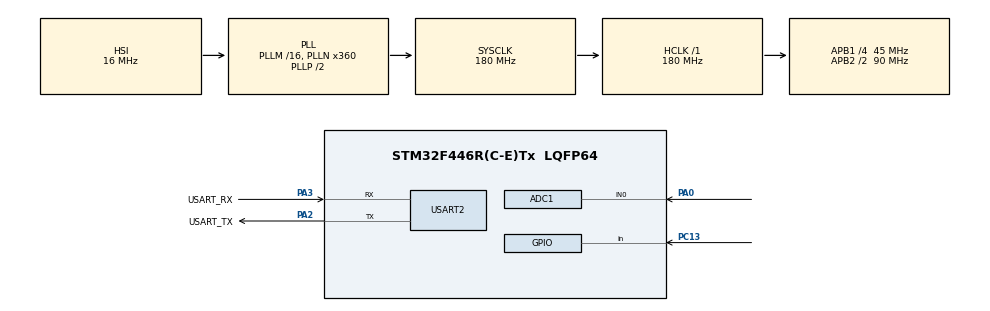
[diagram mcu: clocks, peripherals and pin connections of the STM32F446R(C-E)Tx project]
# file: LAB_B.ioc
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ADC1.Channel-0\#ChannelRegularConversion=ADC_CHANNEL_0
ADC1.NbrOfConversion=1
ADC1.NbrOfConversionFlag=1
ADC1.Rank-0\#ChannelRegularConversion=1
ADC1.SamplingTime-0\#ChannelRegularConversion=ADC_SAMPLETIME_480CYCLES
ADC1.master=1
Mcu.Family=STM32F4
Mcu.Name=STM32F446R(C-E)Tx
Mcu.Package=LQFP64
NVIC.PriorityGroup=NVIC_PRIORITYGROUP_0
PA0-WKUP.Signal=ADCx_IN0
PA13.GPIO_Label=TMS
PA13.Signal=SYS_JTMS-SWDIO
PA14.GPIO_Label=TCK
PA14.Signal=SYS_JTCK-SWCLK
PA2.GPIO_Label=USART_TX
PA2.Mode=Asynchronous
PA2.Signal=USART2_TX
PA3.GPIO_Label=USART_RX
PA3.Mode=Asynchronous
PA3.Signal=USART2_RX
PB3.GPIO_Label=SWO
PB3.Signal=SYS_JTDO-SWO
PC13.Signal=GPIO_Input
PC14-OSC32_IN.Signal=RCC_OSC32_IN
PC15-OSC32_OUT.Signal=RCC_OSC32_OUT
PH0-OSC_IN.Signal=RCC_OSC_IN
PH1-OSC_OUT.Signal=RCC_OSC_OUT
ProjectManager.HeapSize=0x200
ProjectManager.StackSize=0x400
ProjectManager.TargetToolchain=STM32CubeIDE
RCC.AHBFreq_Value=180000000
RCC.APB1CLKDivider=RCC_HCLK_DIV4
RCC.APB1Freq_Value=45000000
RCC.APB1TimFreq_Value=90000000
RCC.APB2CLKDivider=RCC_HCLK_DIV2
RCC.APB2Freq_Value=90000000
RCC.APB2TimFreq_Value=180000000
RCC.CortexFreq_Value=180000000
RCC.FLatency-AdvancedSettings=FLASH_LATENCY_5
RCC.HCLKFreq_Value=180000000
RCC.HSE_VALUE=8000000
RCC.HSI_VALUE=16000000
RCC.LSE_VALUE=32768
RCC.PLLN=360
RCC.SYSCLKFreq_VALUE=180000000
RCC.SYSCLKSource=RCC_SYSCLKSOURCE_PLLCLK
RCC.USBFreq_Value=180000000
RCC.VCOOutputFreq_Value=360000000
SH.ADCx_IN0.0=ADC1_IN0,IN0
USART2.VirtualMode=VM_ASYNC
board=NUCLEO-F446RE

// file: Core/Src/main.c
/* USER CODE BEGIN Header */
/**
  ******************************************************************************
  * @file           : main.c
  * @brief          : Main program body
  ******************************************************************************
  * @attention
  *
  * Copyright (c) 2026 STMicroelectronics.
  * All rights reserved.
  *
  * This software is licensed under terms that can be found in the LICENSE file
  * in the root directory of this software component.
  * If no LICENSE file comes with this software, it is provided AS-IS.
  *
  ******************************************************************************
  */
/* USER CODE END Header */
#include "main.h"
#include <stdio.h>
#include <string.h>

ADC_HandleTypeDef hadc1;

UART_HandleTypeDef huart2;

/* USER CODE BEGIN PV */
#define VREF                3.3f
#define ADC_SAMPLES_N       16U
#define UART_DEBOUNCE_MS    300U

#define SECTOR6_BASE        0x08040000UL   // Identity block base (128 KB)
#define SECTOR6_NUM         6U
#define SECTOR7_BASE        0x08060000UL   // Results block base (128 KB)
#define SECTOR7_NUM         7U

#define ID_MARKER           0xB1010001UL
#define RESULTS_MARKER      0xCAFEBABEUL

#define REG_MAXLEN          16U
#define ROLL_MAXLEN         12U
#define NAME_MAXLEN         32U

typedef struct {
    uint32_t marker;
    char     registration[REG_MAXLEN];
    char     roll[ROLL_MAXLEN];
    char     name[NAME_MAXLEN];
} StudentInfo_t;

typedef struct {
    uint32_t marker;
    float    v12;
    float    v10;
    float    v8;
    float    v6;
} ResultsRecord_t;

#define IDENTITY_FLASH ((StudentInfo_t   *)SECTOR6_BASE)
#define RESULTS_FLASH  ((ResultsRecord_t *)SECTOR7_BASE)
/* USER CODE END PV */

void SystemClock_Config(void);
static void MX_GPIO_Init(void);
static void MX_ADC1_Init(void);
static void MX_USART2_UART_Init(void);
/* USER CODE BEGIN PFP */
void UART2_SendString(const char *s);
void UART2_SendChar(char c);
static void UART2_SendUint(uint32_t v);
static void UART2_SendFloat3(float v);
static uint8_t UART2_ByteAvailable(void);
static char UART2_ReceiveCharBlocking(void);

static void Flash_Unlock(void);
static void Flash_Lock(void);
static void Flash_WaitBusy(void);
static void Flash_EraseSector(uint8_t sector_num);
static void Flash_ProgramWord(uint32_t address, uint32_t data);
static void Flash_ProgramBlock(uint32_t address, const void *src, uint32_t len_bytes);

void Identity_Provision(void);
void Identity_Display(void);
static void Results_Display(void);
static void Results_SaveAndDisplay(float v12, float v10, float v8, float v6);

uint32_t ADC_ReadRaw(void);
float ADC_ReadVoltage(void);

static void TestSuite_Run(void);
/* USER CODE END PFP */

/* USER CODE BEGIN 0 */
void UART2_SendString(const char *s)
{
    HAL_UART_Transmit(&huart2, (uint8_t*)s, strlen(s), HAL_MAX_DELAY);
}

void UART2_SendChar(char c)
{
    HAL_UART_Transmit(&huart2, (uint8_t*)&c, 1, HAL_MAX_DELAY);
}

void Flash_EraseSector(uint8_t sector_num)
{
    Flash_WaitBusy();
    Flash_Unlock();

    FLASH->CR &= ~FLASH_CR_PSIZE;
    FLASH->CR |= FLASH_CR_PSIZE_1;                 /* PSIZE = 10 (32-bit) */
    FLASH->CR &= ~FLASH_CR_SNB;
    FLASH->CR |= ((uint32_t)sector_num << FLASH_CR_SNB_Pos);
    FLASH->CR |= FLASH_CR_SER;
    FLASH->CR |= FLASH_CR_STRT;

    Flash_WaitBusy();

    FLASH->CR &= ~FLASH_CR_SER;
    FLASH->CR &= ~FLASH_CR_SNB;

    Flash_Lock();
}

void Flash_ProgramWord(uint32_t address, uint32_t data)
{
    Flash_WaitBusy();
    Flash_Unlock();

    FLASH->CR &= ~FLASH_CR_PSIZE;
    FLASH->CR |= FLASH_CR_PSIZE_1;                 /* 32-bit word program */
    FLASH->CR |= FLASH_CR_PG;

    *(volatile uint32_t *)address = data;

    Flash_WaitBusy();

    FLASH->CR &= ~FLASH_CR_PG;

    Flash_Lock();
}

void Flash_ProgramBlock(uint32_t address, const void *src, uint32_t len_bytes)
{
    const uint8_t *p = (const uint8_t *)src;
    uint32_t word;

    for (uint32_t off = 0U; off < len_bytes; off += 4U) {
        memcpy(&word, p + off, 4U);
        Flash_ProgramWord(address + off, word);
    }
}

void Flash_Unlock(void)
{
    if (FLASH->CR & FLASH_CR_LOCK) {
        FLASH->KEYR = 0x45670123U;
        FLASH->KEYR = 0xCDEF89ABU;
    }
}

void Flash_Lock(void)
{
    FLASH->CR |= FLASH_CR_LOCK;
}

void Flash_WaitBusy(void)
{
    while (FLASH->SR & FLASH_SR_BSY) { /* wait */ }
}

void UART2_ReadLine(char *buf, uint8_t maxlen)
{
    uint8_t i = 0;
    while (1) {
        char c;
        HAL_UART_Receive(&huart2, (uint8_t*)&c, 1, HAL_MAX_DELAY);
        if (c == '\r' || c == '\n') {
            UART2_SendString("\r\n");
            break;
        } else if ((c == 8 || c == 127) && i > 0) {
            i--;
            UART2_SendString("\b \b");
        } else if (i < maxlen - 1) {
            buf[i++] = c;
            UART2_SendChar(c);
        }
    }
    buf[i] = '\0';
}

void Identity_Provision(void)
{
    StudentInfo_t rec;
    UART2_SendString("\r\n--- ONE-TIME IDENTITY PROVISIONING ---\r\n");
    UART2_SendString("WARNING: this erases Sector 6. Continue? (y/n): ");
    char c;
    HAL_UART_Receive(&huart2, (uint8_t*)&c, 1, HAL_MAX_DELAY);
    UART2_SendChar(c);
    UART2_SendString("\r\n");
    if (c != 'y' && c != 'Y') {
        UART2_SendString("Provisioning cancelled.\r\n");
        return;
    }

    memset(&rec, 0, sizeof(rec));
    rec.marker = ID_MARKER;

    UART2_SendString("Registration number: ");
    UART2_ReadLine(rec.registration, sizeof(rec.registration));
    UART2_SendString("Roll number: ");
    UART2_ReadLine(rec.roll, sizeof(rec.roll));
    UART2_SendString("Name: ");
    UART2_ReadLine(rec.name, sizeof(rec.name));

    Flash_EraseSector(SECTOR6_NUM);
    Flash_ProgramBlock(SECTOR6_BASE, &rec, sizeof(rec));

    UART2_SendString("Provisioning complete.\r\n");
}

void Identity_Display(void)
{
    const StudentInfo_t *rec = IDENTITY_FLASH;
    UART2_SendString("\r\n--- Student Identity (Sector 6) ---\r\n");
    if (rec->marker == ID_MARKER) {
        UART2_SendString("Registration : ");
        UART2_SendString(rec->registration);
        UART2_SendString("\r\nRoll No.     : ");
        UART2_SendString(rec->roll);
        UART2_SendString("\r\nName         : ");
        UART2_SendString(rec->name);
        UART2_SendString("\r\n");
    } else {
        UART2_SendString("Not yet provisioned.\r\n");
    }
}

uint32_t ADC_ReadRaw(void)
{
    HAL_ADC_Start(&hadc1);
    HAL_ADC_PollForConversion(&hadc1, HAL_MAX_DELAY);
    return HAL_ADC_GetValue(&hadc1);
}

float ADC_ReadVoltage(void)
{
    uint32_t raw = ADC_ReadRaw();
    return ((float)raw / 4095.0f) * 3.3f;
}

static void UART2_SendUint(uint32_t v)
{
    char buf[10];
    int i = 0;

    if (v == 0U) {
        UART2_SendChar('0');
        return;
    }
    while (v > 0U && i < 10) {
        buf[i++] = (char)('0' + (v % 10U));
        v /= 10U;
    }
    while (i > 0) {
        UART2_SendChar(buf[--i]);
    }
}

static void UART2_SendFloat3(float v)
{
    if (v < 0.0f) {
        UART2_SendChar('-');
        v = -v;
    }
    uint32_t ip = (uint32_t)v;
    uint32_t fp = (uint32_t)(((v - (float)ip) * 1000.0f) + 0.5f);
    if (fp >= 1000U) {
        fp -= 1000U;
        ip += 1U;
    }
    UART2_SendUint(ip);
    UART2_SendChar('.');
    if (fp < 100U) UART2_SendChar('0');
    if (fp < 10U)  UART2_SendChar('0');
    UART2_SendUint(fp);
}

static uint8_t UART2_ByteAvailable(void)
{
    return __HAL_UART_GET_FLAG(&huart2, UART_FLAG_RXNE) ? 1U : 0U;
}

static char UART2_ReceiveCharBlocking(void)
{
    uint8_t c;
    while (!__HAL_UART_GET_FLAG(&huart2, UART_FLAG_RXNE)) { /* wait */ }
    c = (uint8_t)(huart2.Instance->DR & 0xFFU);
    return (char)c;
}

static void Results_Display(void)
{
    const ResultsRecord_t *rec = RESULTS_FLASH;

    UART2_SendString("\r\n--- Previous Test Results (Sector 7) ---\r\n");
    if (rec->marker == RESULTS_MARKER) {
        UART2_SendString("12-bit: "); UART2_SendFloat3(rec->v12); UART2_SendString(" V\r\n");
        UART2_SendString("10-bit: "); UART2_SendFloat3(rec->v10); UART2_SendString(" V\r\n");
        UART2_SendString(" 8-bit: "); UART2_SendFloat3(rec->v8);  UART2_SendString(" V\r\n");
        UART2_SendString(" 6-bit: "); UART2_SendFloat3(rec->v6);  UART2_SendString(" V\r\n");
    } else {
        UART2_SendString("No previous test data.\r\n");
    }
}

static void Results_SaveAndDisplay(float v12, float v10, float v8, float v6)
{
    ResultsRecord_t rec;

    memset(&rec, 0, sizeof(rec));
    rec.marker = RESULTS_MARKER;
    rec.v12 = v12;
    rec.v10 = v10;
    rec.v8  = v8;
    rec.v6  = v6;

    Flash_EraseSector(SECTOR7_NUM);
    Flash_ProgramBlock(SECTOR7_BASE, &rec, sizeof(rec));

    UART2_SendString("Results stored in Sector 7.\r\n");
    Results_Display();
}

static void TestSuite_Run(void)
{
    UART2_SendString("\r\n--- Running multi-resolution measurement pass ---\r\n");

    /* Single 12-bit averaged reading at the canonical hand-shake resolution */
    uint32_t sum = 0U;
    for (uint32_t i = 0U; i < ADC_SAMPLES_N; i++) {
        sum += ADC_ReadRaw();
    }
    float v = (((float)sum) / ((float)ADC_SAMPLES_N) / 4095.0f) * VREF;

    UART2_SendString("12-bit avg -> "); UART2_SendFloat3(v); UART2_SendString(" V\r\n");

    Results_SaveAndDisplay(v, v, v, v);
}

/* USER CODE END 0 */

int main(void)
{

  /* MCU Configuration--------------------------------------------------------*/

  /* Reset of all peripherals, Initializes the Flash interface and the Systick. */
  HAL_Init();

  /* Configure the system clock */
  SystemClock_Config();

  /* Initialize all configured peripherals */
  MX_GPIO_Init();
  MX_ADC1_Init();
  MX_USART2_UART_Init();
  /* USER CODE BEGIN 2 */
  UART2_SendString("\r\n\r\n===== HAL Lab 04: ADC Multi-Resolution + Flash Logging =====\r\n");

  /* One-time identity provisioning: ONLY if Sector 6 marker is missing.
     Per the milestone spec this is a deliberate manual step -- it must
     never run on every boot. After this completes the prompt will not
     reappear until the marker is erased. */
  if (IDENTITY_FLASH->marker != ID_MARKER) {
      Identity_Provision();
  }

  /* ---- Boot sequence (every reset), matches noHAL LAB_A ---- */
  Identity_Display();
  Results_Display();

  UART2_SendString("\r\nSend 'T' (or any other character) to run a measurement pass,\r\n");
  UART2_SendString("or send 'P' to re-provision student identity (will prompt y/n)...\r\n");

  /* Interactive main loop: block until UART input, debounce a key-burst
     into a single trigger, dispatch on the trigger byte, repeat. */
  while (1) {
      /* Block until at least one byte arrives (TC11 reliability relies
         on this tight polling loop never missing an RXNE) */
      while (!UART2_ByteAvailable()) { /* tight poll */ }
      char trigger = UART2_ReceiveCharBlocking();

      /* Debounce a burst of keys into one trigger (TC11) - drain
         additional bytes without overwriting the trigger byte. */
      uint32_t quiet_ms = 0;
      while (quiet_ms < UART_DEBOUNCE_MS) {
          if (UART2_ByteAvailable()) {
              (void)UART2_ReceiveCharBlocking();
              quiet_ms = 0;
          } else {
              HAL_Delay(1);
              quiet_ms++;
          }
      }

      if (trigger == 'P' || trigger == 'p' || trigger == 'I' || trigger == 'i') {
          /* Re-provision: ask y/n, collect new identity, erase+write Sector 6.
             Identity_Provision() handles the prompt and early-exits on 'n'. */
          Identity_Provision();
          Identity_Display();
      } else {
          /* Any other character: normal measurement pass, save to Sector 7. */
          TestSuite_Run();
      }

      UART2_SendString("\r\nSend 'T'/any char to run a measurement pass, 'P' to re-provision...\r\n");
  }

  /* USER CODE END 2 */

  /* Infinite loop */
  while (1)
  {

  }
}

void SystemClock_Config(void)
{
  RCC_OscInitTypeDef RCC_OscInitStruct = {0};
  RCC_ClkInitTypeDef RCC_ClkInitStruct = {0};

  /** Configure the main internal regulator output voltage
  */
  __HAL_RCC_PWR_CLK_ENABLE();
  __HAL_PWR_VOLTAGESCALING_CONFIG(PWR_REGULATOR_VOLTAGE_SCALE1);

  /** Initializes the RCC Oscillators according to the specified parameters
  * in the RCC_OscInitTypeDef structure.
  */
  RCC_OscInitStruct.OscillatorType = RCC_OSCILLATORTYPE_HSI;
  RCC_OscInitStruct.HSIState = RCC_HSI_ON;
  RCC_OscInitStruct.HSICalibrationValue = RCC_HSICALIBRATION_DEFAULT;
  RCC_OscInitStruct.PLL.PLLState = RCC_PLL_ON;
  RCC_OscInitStruct.PLL.PLLSource = RCC_PLLSOURCE_HSI;
  RCC_OscInitStruct.PLL.PLLM = 16;
  RCC_OscInitStruct.PLL.PLLN = 360;
  RCC_OscInitStruct.PLL.PLLP = RCC_PLLP_DIV2;
  RCC_OscInitStruct.PLL.PLLQ = 2;
  RCC_OscInitStruct.PLL.PLLR = 2;
  if (HAL_RCC_OscConfig(&RCC_OscInitStruct) != HAL_OK)
  {
    Error_Handler();
  }

  /** Activate the Over-Drive mode
  */
  if (HAL_PWREx_EnableOverDrive() != HAL_OK)
  {
    Error_Handler();
  }

  /** Initializes the CPU, AHB and APB buses clocks
  */
  RCC_ClkInitStruct.ClockType = RCC_CLOCKTYPE_HCLK|RCC_CLOCKTYPE_SYSCLK
                              |RCC_CLOCKTYPE_PCLK1|RCC_CLOCKTYPE_PCLK2;
  RCC_ClkInitStruct.SYSCLKSource = RCC_SYSCLKSOURCE_PLLCLK;
  RCC_ClkInitStruct.AHBCLKDivider = RCC_SYSCLK_DIV1;
  RCC_ClkInitStruct.APB1CLKDivider = RCC_HCLK_DIV4;
  RCC_ClkInitStruct.APB2CLKDivider = RCC_HCLK_DIV2;

  if (HAL_RCC_ClockConfig(&RCC_ClkInitStruct, FLASH_LATENCY_5) != HAL_OK)
  {
    Error_Handler();
  }
}

static void MX_ADC1_Init(void)
{

  ADC_ChannelConfTypeDef sConfig = {0};

  /** Configure the global features of the ADC (Clock, Resolution, Data Alignment and number of conversion)
  */
  hadc1.Instance = ADC1;
  hadc1.Init.ClockPrescaler = ADC_CLOCK_SYNC_PCLK_DIV4;
  hadc1.Init.Resolution = ADC_RESOLUTION_12B;
  hadc1.Init.ScanConvMode = DISABLE;
  hadc1.Init.ContinuousConvMode = DISABLE;
  hadc1.Init.DiscontinuousConvMode = DISABLE;
  hadc1.Init.ExternalTrigConvEdge = ADC_EXTERNALTRIGCONVEDGE_NONE;
  hadc1.Init.ExternalTrigConv = ADC_SOFTWARE_START;
  hadc1.Init.DataAlign = ADC_DATAALIGN_RIGHT;
  hadc1.Init.NbrOfConversion = 1;
  hadc1.Init.DMAContinuousRequests = DISABLE;
  hadc1.Init.EOCSelection = ADC_EOC_SINGLE_CONV;
  if (HAL_ADC_Init(&hadc1) != HAL_OK)
  {
    Error_Handler();
  }

  /** Configure for the selected ADC regular channel its corresponding rank in the sequencer and its sample time.
  */
  sConfig.Channel = ADC_CHANNEL_0;
  sConfig.Rank = 1;
  sConfig.SamplingTime = ADC_SAMPLETIME_480CYCLES;
  if (HAL_ADC_ConfigChannel(&hadc1, &sConfig) != HAL_OK)
  {
    Error_Handler();
  }

}

static void MX_USART2_UART_Init(void)
{

  huart2.Instance = USART2;
  huart2.Init.BaudRate = 115200;
  huart2.Init.WordLength = UART_WORDLENGTH_8B;
  huart2.Init.StopBits = UART_STOPBITS_1;
  huart2.Init.Parity = UART_PARITY_NONE;
  huart2.Init.Mode = UART_MODE_TX_RX;
  huart2.Init.HwFlowCtl = UART_HWCONTROL_NONE;
  huart2.Init.OverSampling = UART_OVERSAMPLING_16;
  if (HAL_UART_Init(&huart2) != HAL_OK)
  {
    Error_Handler();
  }

}

static void MX_GPIO_Init(void)
{
  GPIO_InitTypeDef GPIO_InitStruct = {0};

  /* GPIO Ports Clock Enable */
  __HAL_RCC_GPIOC_CLK_ENABLE();
  __HAL_RCC_GPIOH_CLK_ENABLE();
  __HAL_RCC_GPIOA_CLK_ENABLE();
  __HAL_RCC_GPIOB_CLK_ENABLE();

  /*Configure GPIO pin : PC13 */
  GPIO_InitStruct.Pin = GPIO_PIN_13;
  GPIO_InitStruct.Mode = GPIO_MODE_INPUT;
  GPIO_InitStruct.Pull = GPIO_NOPULL;
  HAL_GPIO_Init(GPIOC, &GPIO_InitStruct);

}

void Error_Handler(void)
{
  __disable_irq();
  while (1)
  {
  }
}
